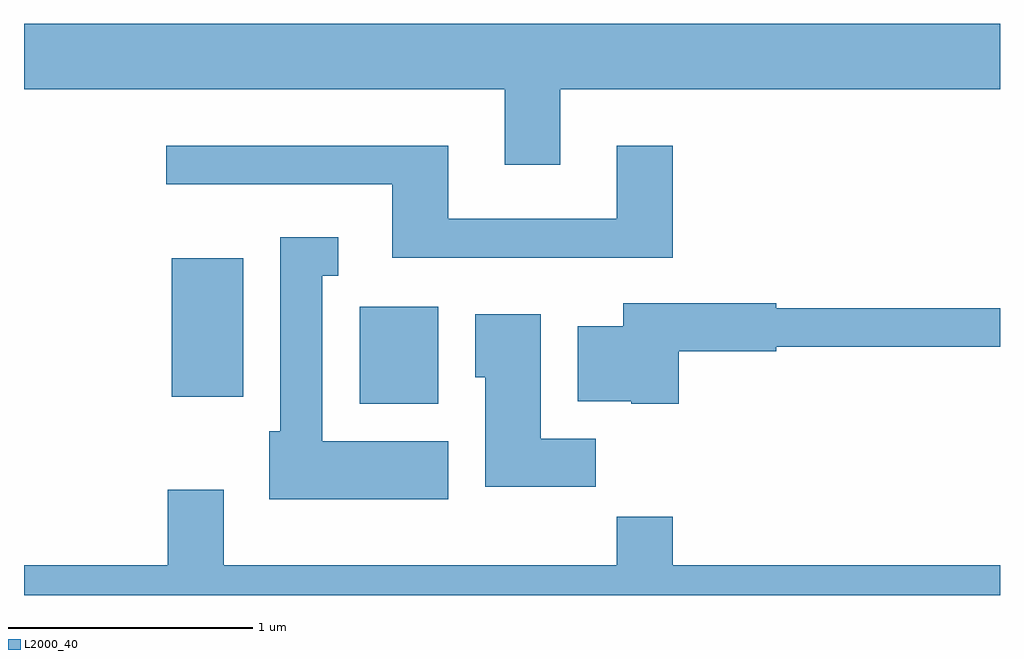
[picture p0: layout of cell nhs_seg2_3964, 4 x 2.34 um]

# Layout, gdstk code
import gdstk
lib = gdstk.Library(unit=1e-6, precision=1e-09)
def R(c, l, rs):  # rectangles x0, y0, x1, y1
    for r in rs: c.add(gdstk.rectangle(r[:2], r[2:], *l))
def P(c, l, *ps):  # polygons
    for p in ps: c.add(gdstk.Polygon(p, *l))
L2000_40 = (2000, 40)

nhs_seg2_3964 = lib.new_cell('nhs_seg2_3964')
R(nhs_seg2_3964, L2000_40, [(302.986,1042.586,303.309,1042.984), (302.216,1042.616,302.509,1043.184)])
P(nhs_seg2_3964, L2000_40, [(303.809,1043.876),(305.611,1043.876),(305.611,1044.144),(301.611,1044.144),(301.611,1043.876),(303.581,1043.876),(303.581,1043.566),(303.809,1043.566)],
  [(304.269,1043.644),(304.041,1043.644),(304.041,1043.344),(303.349,1043.344),(303.349,1043.644),(302.193,1043.644),(302.193,1043.486),(303.121,1043.486),(303.121,1043.186),(304.269,1043.186)],
  [(303.349,1042.434),(302.834,1042.434),(302.834,1043.111),(302.898,1043.111),(302.898,1043.269),(302.661,1043.269),(302.661,1042.474),(302.616,1042.474),(302.616,1042.196),(303.349,1042.196)],
  [(304.294,1042.801),(304.694,1042.801),(304.694,1042.821),(305.611,1042.821),(305.611,1042.979),(304.694,1042.979),(304.694,1042.999),(304.066,1042.999),(304.066,1042.904),(303.881,1042.904),(303.881,1042.596),(304.1,1042.596),(304.1,1042.586),(304.294,1042.586)],
  [(303.954,1042.444),(303.729,1042.444),(303.729,1042.954),(303.461,1042.954),(303.461,1042.696),(303.501,1042.696),(303.501,1042.246),(303.954,1042.246)],
  [(305.611,1041.924),(304.269,1041.924),(304.269,1042.124),(304.041,1042.124),(304.041,1041.924),(302.429,1041.924),(302.429,1042.234),(302.201,1042.234),(302.201,1041.924),(301.611,1041.924),(301.611,1041.802),(305.611,1041.802)])

lib.write_gds('nhs_seg2_3964.gds')
